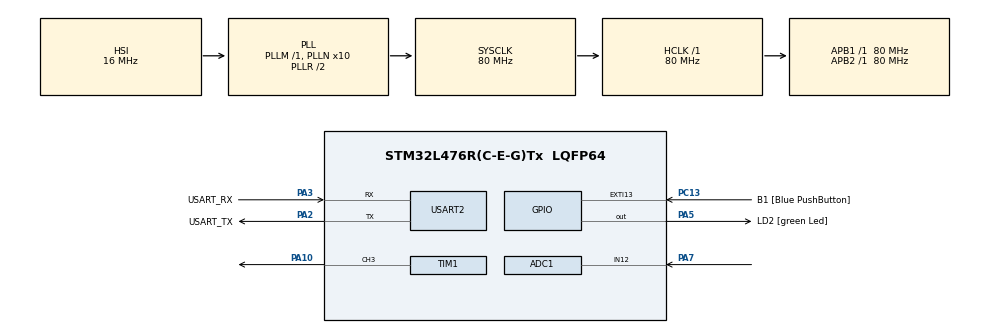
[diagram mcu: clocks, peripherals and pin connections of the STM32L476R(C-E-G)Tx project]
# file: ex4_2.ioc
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ADC1.Channel-0\#ChannelRegularConversion=ADC_CHANNEL_12
ADC1.ExternalTrigConv=ADC_EXTERNALTRIG_T6_TRGO
ADC1.NbrOfConversionFlag=1
ADC1.OffsetNumber-0\#ChannelRegularConversion=ADC_OFFSET_NONE
ADC1.Rank-0\#ChannelRegularConversion=1
ADC1.SamplingTime-0\#ChannelRegularConversion=ADC_SAMPLETIME_47CYCLES_5
ADC1.master=1
Mcu.Family=STM32L4
Mcu.Name=STM32L476R(C-E-G)Tx
Mcu.Package=LQFP64
NVIC.ADC1_2_IRQn=true\:0\:0\:false\:false\:true\:true\:true
NVIC.PriorityGroup=NVIC_PRIORITYGROUP_4
NVIC.TIM6_DAC_IRQn=true\:0\:0\:false\:false\:true\:true\:true
NVIC.TIM7_IRQn=true\:0\:0\:false\:false\:true\:true\:true
NVIC.USART2_IRQn=true\:0\:0\:false\:false\:true\:true\:true
PA10.Signal=S_TIM1_CH3
PA13\ (JTMS-SWDIO).GPIO_Label=TMS
PA13\ (JTMS-SWDIO).Mode=Serial_Wire
PA13\ (JTMS-SWDIO).Signal=SYS_JTMS-SWDIO
PA14\ (JTCK-SWCLK).GPIO_Label=TCK
PA14\ (JTCK-SWCLK).Mode=Serial_Wire
PA14\ (JTCK-SWCLK).Signal=SYS_JTCK-SWCLK
PA2.GPIO_Label=USART_TX
PA2.GPIO_Mode=GPIO_MODE_AF_PP
PA2.GPIO_PuPd=GPIO_NOPULL
PA2.GPIO_Speed=GPIO_SPEED_FREQ_VERY_HIGH
PA2.Mode=Asynchronous
PA2.Signal=USART2_TX
PA3.GPIO_Label=USART_RX
PA3.GPIO_Mode=GPIO_MODE_AF_PP
PA3.GPIO_PuPd=GPIO_NOPULL
PA3.GPIO_Speed=GPIO_SPEED_FREQ_VERY_HIGH
PA3.Mode=Asynchronous
PA3.Signal=USART2_RX
PA5.GPIO_Label=LD2 [green Led]
PA5.GPIO_ModeDefaultOutputPP=GPIO_MODE_OUTPUT_PP
PA5.GPIO_PuPd=GPIO_NOPULL
PA5.GPIO_Speed=GPIO_SPEED_FREQ_LOW
PA5.Signal=GPIO_Output
PA7.Signal=ADCx_IN12
PB3\ (JTDO-TRACESWO).GPIO_Label=SWO
PB3\ (JTDO-TRACESWO).Signal=SYS_JTDO-SWO
PC13.GPIO_Label=B1 [Blue PushButton]
PC13.GPIO_ModeDefaultEXTI=GPIO_MODE_IT_FALLING
PC13.GPIO_PuPd=GPIO_NOPULL
PC13.Signal=GPXTI13
PC14-OSC32_IN\ (PC14).Mode=LSE-External-Oscillator
PC14-OSC32_IN\ (PC14).Signal=RCC_OSC32_IN
PC15-OSC32_OUT\ (PC15).Mode=LSE-External-Oscillator
PC15-OSC32_OUT\ (PC15).Signal=RCC_OSC32_OUT
PH0-OSC_IN\ (PH0).Signal=RCC_OSC_IN
PH1-OSC_OUT\ (PH1).Signal=RCC_OSC_OUT
ProjectManager.HeapSize=0x200
ProjectManager.StackSize=0x400
ProjectManager.TargetToolchain=STM32CubeIDE
RCC.ADCFreq_Value=64000000
RCC.AHBFreq_Value=80000000
RCC.APB1Freq_Value=80000000
RCC.APB1TimFreq_Value=80000000
RCC.APB2Freq_Value=80000000
RCC.APB2TimFreq_Value=80000000
RCC.CortexFreq_Value=80000000
RCC.HCLKFreq_Value=80000000
RCC.HSE_VALUE=8000000
RCC.HSI_VALUE=16000000
RCC.MSI_VALUE=4000000
RCC.PLLN=10
RCC.PLLSourceVirtual=RCC_PLLSOURCE_HSI
RCC.PREFETCH_ENABLE=1
RCC.SYSCLKFreq_VALUE=80000000
RCC.SYSCLKSource=RCC_SYSCLKSOURCE_PLLCLK
RCC.USBFreq_Value=64000000
RCC.VCOOutputFreq_Value=160000000
SH.ADCx_IN12.0=ADC1_IN12,IN12-Single-Ended
SH.S_TIM1_CH3.0=TIM1_CH3,PWM Generation3 CH3
TIM1.Channel-PWM\ Generation3\ CH3=TIM_CHANNEL_3
TIM1.Period=999
TIM1.Prescaler=799
TIM6.Period=99
TIM6.Prescaler=7999
TIM6.TIM_MasterOutputTrigger=TIM_TRGO_UPDATE
TIM7.Period=1999
TIM7.Prescaler=7999
USART2.VirtualMode-Asynchronous=VM_ASYNC
VP_TIM6_VS_ClockSourceINT.Mode=Enable_Timer
VP_TIM7_VS_ClockSourceINT.Mode=Enable_Timer
board=NUCLEO-L476RG

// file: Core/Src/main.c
/* USER CODE BEGIN Header */
/**
  ******************************************************************************
  * @file           : main.c
  * @brief          : Main program body
  ******************************************************************************
  * @attention
  *
  * <h2><center>&copy; Copyright (c) 2021 STMicroelectronics.
  * All rights reserved.</center></h2>
  *
  * This software component is licensed by ST under BSD 3-Clause license,
  * the "License"; You may not use this file except in compliance with the
  * License. You may obtain a copy of the License at:
  *                        opensource.org/licenses/BSD-3-Clause
  *
  ******************************************************************************
  */
/* USER CODE END Header */
#include "main.h"
#include "adc.h"
#include "tim.h"
#include "usart.h"
#include "gpio.h"

/* USER CODE BEGIN Includes */
#include "pid.h"
#include <stdio.h>
/* USER CODE END Includes */

/* USER CODE BEGIN PV */
volatile int adc_flag;
volatile int flag2;
volatile int adc_value;
volatile int dac_value;
volatile int dac_control;
volatile uint16_t dac_index;
volatile uint8_t dac_nperiod;
#define dac_nperiod_max 100 //programowy prescaler
int step_desired;
cpid_t pid;
volatile uint8_t i;
uint8_t Received;

uint16_t Value[] = {0,250,500,750,1000};
/* USER CODE END PV */

void SystemClock_Config(void);
/* USER CODE BEGIN PFP */
int _write(int file, char *ptr, int len){
	HAL_UART_Transmit(&huart2, (uint8_t*)ptr, len, 50);
	return len;
}

void HAL_ADC_ConvCpltCallback(ADC_HandleTypeDef* hadc) {
if (hadc == &hadc1) {
	adc_flag = 1;
	adc_value = HAL_ADC_GetValue(&hadc1);
}
}

void HAL_TIM_PeriodElapsedCallback(TIM_HandleTypeDef *htim) {
if (htim == &htim7) {
	flag2=1;
}
}

void HAL_UART_RxCpltCallback(UART_HandleTypeDef *huart) {

	switch(Received){
	case '0':
		i=0;
		break;
	case '1':
		i=1;
		break;
	case '2':
		i=3;
		break;
	case '3':
		i=4;
		break;
	default:
		break;
	}
	 HAL_UART_Receive_IT(&huart2, &Received, 1);
}
/* USER CODE END PFP */

int main(void)
{
  /* USER CODE BEGIN 1 */
	 uint16_t help1=0,help2=0;
  /* USER CODE END 1 */

  /* MCU Configuration--------------------------------------------------------*/

  /* Reset of all peripherals, Initializes the Flash interface and the Systick. */
  HAL_Init();

  /* Configure the system clock */
  SystemClock_Config();

  /* Initialize all configured peripherals */
  MX_GPIO_Init();
  MX_USART2_UART_Init();
  MX_TIM1_Init();
  MX_TIM6_Init();
  MX_TIM7_Init();
  MX_ADC1_Init();
  /* USER CODE BEGIN 2 */
  HAL_ADC_Start_IT(&hadc1);
  HAL_TIM_Base_Start_IT(&htim6);
  HAL_TIM_Base_Start_IT(&htim7);
  HAL_UART_Receive_IT(&huart2, &Received, 1);
  __HAL_TIM_SET_COMPARE(&htim1, TIM_CHANNEL_3, Value[0]);
   HAL_TIM_PWM_Start(&htim1, TIM_CHANNEL_3);

  /* USER CODE END 2 */

  /* Infinite loop */
  /* USER CODE BEGIN WHILE */
   pid_init(&pid, 1.0f, 2.5f, 0.0f, 10, 10);
   pid.p_max = pid_scale(&pid, 4095);
   pid.p_min = pid_scale(&pid, -4095);
   pid.i_max = pid_scale(&pid, 4095);
   pid.i_min = pid_scale(&pid, -4095);
   pid.d_max = pid_scale(&pid, 4095);
   pid.d_min = pid_scale(&pid, -4095);
   pid.total_max = pid_scale(&pid, 4095);
   pid.total_min = pid_scale(&pid, 0);

  while (1)
  {
	  if (adc_flag == 1) {
	 		  adc_flag = 0;
	 		  help1=Value[i]*4095/1000;
	 		  dac_control = pid_calc(&pid, adc_value, help1);
	 		  help1=dac_control*1000/4095;
	 		 __HAL_TIM_SET_COMPARE(&htim1, TIM_CHANNEL_3, help1);
	 	  }
	 	  if(flag2 == 1){

	 		 help2=adc_value;

	 		  printf("DAC: MV:   %d,  %d %% CS:  %d, SP:  %d,  0%d %% \r\n",help2, help2*100/4095 ,help1, Value[i]*4095/1000, Value[i]*4095/1000*100/4095);
	 	  }
    /* USER CODE END WHILE */

  }
}

void SystemClock_Config(void)
{
  RCC_OscInitTypeDef RCC_OscInitStruct = {0};
  RCC_ClkInitTypeDef RCC_ClkInitStruct = {0};
  RCC_PeriphCLKInitTypeDef PeriphClkInit = {0};

  /** Initializes the RCC Oscillators according to the specified parameters
  * in the RCC_OscInitTypeDef structure.
  */
  RCC_OscInitStruct.OscillatorType = RCC_OSCILLATORTYPE_HSI;
  RCC_OscInitStruct.HSIState = RCC_HSI_ON;
  RCC_OscInitStruct.HSICalibrationValue = RCC_HSICALIBRATION_DEFAULT;
  RCC_OscInitStruct.PLL.PLLState = RCC_PLL_ON;
  RCC_OscInitStruct.PLL.PLLSource = RCC_PLLSOURCE_HSI;
  RCC_OscInitStruct.PLL.PLLM = 1;
  RCC_OscInitStruct.PLL.PLLN = 10;
  RCC_OscInitStruct.PLL.PLLP = RCC_PLLP_DIV7;
  RCC_OscInitStruct.PLL.PLLQ = RCC_PLLQ_DIV2;
  RCC_OscInitStruct.PLL.PLLR = RCC_PLLR_DIV2;
  if (HAL_RCC_OscConfig(&RCC_OscInitStruct) != HAL_OK)
  {
    Error_Handler();
  }
  /** Initializes the CPU, AHB and APB buses clocks
  */
  RCC_ClkInitStruct.ClockType = RCC_CLOCKTYPE_HCLK|RCC_CLOCKTYPE_SYSCLK
                              |RCC_CLOCKTYPE_PCLK1|RCC_CLOCKTYPE_PCLK2;
  RCC_ClkInitStruct.SYSCLKSource = RCC_SYSCLKSOURCE_PLLCLK;
  RCC_ClkInitStruct.AHBCLKDivider = RCC_SYSCLK_DIV1;
  RCC_ClkInitStruct.APB1CLKDivider = RCC_HCLK_DIV1;
  RCC_ClkInitStruct.APB2CLKDivider = RCC_HCLK_DIV1;

  if (HAL_RCC_ClockConfig(&RCC_ClkInitStruct, FLASH_LATENCY_4) != HAL_OK)
  {
    Error_Handler();
  }
  PeriphClkInit.PeriphClockSelection = RCC_PERIPHCLK_USART2|RCC_PERIPHCLK_ADC;
  PeriphClkInit.Usart2ClockSelection = RCC_USART2CLKSOURCE_PCLK1;
  PeriphClkInit.AdcClockSelection = RCC_ADCCLKSOURCE_PLLSAI1;
  PeriphClkInit.PLLSAI1.PLLSAI1Source = RCC_PLLSOURCE_HSI;
  PeriphClkInit.PLLSAI1.PLLSAI1M = 1;
  PeriphClkInit.PLLSAI1.PLLSAI1N = 8;
  PeriphClkInit.PLLSAI1.PLLSAI1P = RCC_PLLP_DIV7;
  PeriphClkInit.PLLSAI1.PLLSAI1Q = RCC_PLLQ_DIV2;
  PeriphClkInit.PLLSAI1.PLLSAI1R = RCC_PLLR_DIV2;
  PeriphClkInit.PLLSAI1.PLLSAI1ClockOut = RCC_PLLSAI1_ADC1CLK;
  if (HAL_RCCEx_PeriphCLKConfig(&PeriphClkInit) != HAL_OK)
  {
    Error_Handler();
  }
  /** Configure the main internal regulator output voltage
  */
  if (HAL_PWREx_ControlVoltageScaling(PWR_REGULATOR_VOLTAGE_SCALE1) != HAL_OK)
  {
    Error_Handler();
  }
}

void Error_Handler(void)
{
}

/************************ (C) COPYRIGHT STMicroelectronics *****END OF FILE****/
